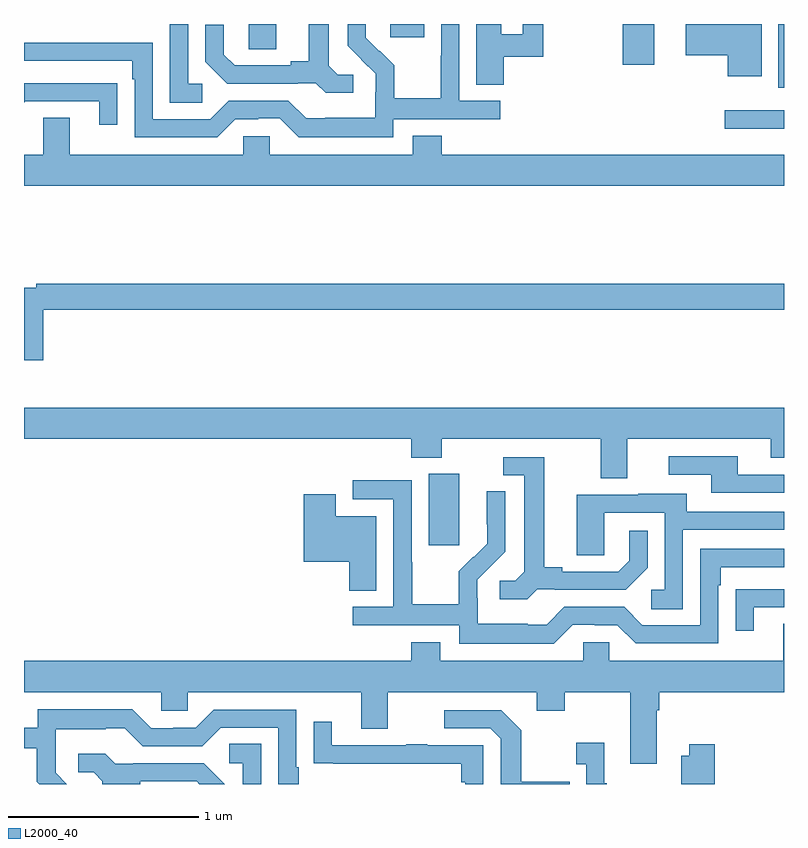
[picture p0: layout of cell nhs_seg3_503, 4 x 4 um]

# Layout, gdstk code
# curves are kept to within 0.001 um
import gdstk
lib = gdstk.Library(unit=1e-6, precision=1e-09)
def R(c, l, rs):  # rectangles x0, y0, x1, y1
    for r in rs: c.add(gdstk.rectangle(r[:2], r[2:], *l))
def P(c, l, *ps):  # polygons
    for p in ps: c.add(gdstk.Polygon(p, *l))
L2000_40 = (2000, 40)

nhs_seg3_503 = lib.new_cell('nhs_seg3_503')
R(nhs_seg3_503, L2000_40, [(137.129,733.656,137.29,734.032), (138.687,735.848,139,735.945), (138.971,736.065,139,736.4), (138.151,736.185,138.316,736.4), (136.182,736.267,136.327,736.4), (136.928,736.329,137.107,736.4)])
P(nhs_seg3_503, L2000_40, [(135.937,736.086),(135.864,736.086),(135.864,736.4),(135.768,736.4),(135.768,735.985),(135.937,735.985)],
  [(136.944,735.9),(137.506,735.9),(137.506,735.996),(137.292,735.996),(137.292,736.4),(137.196,736.4),(137.196,736.232),(137.194,736.232),(137.194,736.009),(136.949,736.009),(136.949,736.183),(136.872,736.26),(136.869,736.257),(136.799,736.328),(136.799,736.4),(136.704,736.4),(136.704,736.286),(136.85,736.138),(136.85,736.041),(136.848,736.041),(136.848,735.907),(136.585,735.907),(136.585,735.903),(136.485,735.903),(136.392,735.996),(136.077,735.996),(135.981,735.9),(135.678,735.9),(135.678,736.302),(135,736.302),(135,736.206),(135.569,736.206),(135.569,736.109),(135.582,736.109),(135.582,735.804),(136.017,735.804),(136.113,735.9),(136.232,735.9),(136.232,735.903),(136.347,735.903),(136.447,735.803),(136.944,735.803)],
  [(138.883,736.4),(138.482,736.4),(138.482,736.235),(138.704,736.235),(138.704,736.124),(138.883,736.124)],
  [(137.525,736.228),(137.734,736.228),(137.734,736.4),(137.625,736.4),(137.625,736.346),(137.512,736.346),(137.512,736.4),(137.381,736.4),(137.381,736.081),(137.525,736.081)],
  [(136.732,736.134),(136.65,736.134),(136.603,736.181),(136.603,736.4),(136.499,736.4),(136.499,736.205),(136.403,736.205),(136.403,736.182),(136.108,736.182),(136.051,736.239),(136.051,736.396),(135.954,736.396),(135.954,736.202),(136.07,736.086),(136.442,736.086),(136.442,736.089),(136.536,736.089),(136.588,736.037),(136.732,736.037)],
  [(135.491,736.088),(135.389,736.088),(135.389,736.089),(135,736.089),(135,735.988),(135.005,735.988),(135.005,735.993),(135.395,735.993),(135.395,735.87),(135.491,735.87)],
  [(139,735.712),(137.198,735.712),(137.198,735.811),(137.045,735.811),(137.045,735.712),(136.293,735.712),(136.293,735.81),(136.155,735.81),(136.155,735.712),(135.241,735.712),(135.241,735.907),(135.101,735.907),(135.101,735.712),(135,735.712),(135,735.548),(139,735.548)],
  [(135.101,734.896),(139,734.896),(139,735.032),(135.064,735.032),(135.064,735.012),(135,735.012),(135,734.631),(135.101,734.631)],
  [(138.175,734.216),(138.929,734.216),(138.929,734.117),(139,734.117),(139,734.38),(135,734.38),(135,734.216),(137.039,734.216),(137.039,734.117),(137.199,734.117),(137.199,734.216),(138.035,734.216),(138.035,734.008),(138.175,734.008)],
  [(139,734.028),(138.757,734.028),(138.757,734.124),(138.393,734.124),(138.393,734.028),(138.617,734.028),(138.617,733.932),(139,733.932)],
  [(137.7,733.425),(137.794,733.425),(137.794,733.422),(138.166,733.422),(138.282,733.538),(138.282,733.732),(138.185,733.732),(138.185,733.575),(138.128,733.518),(137.833,733.518),(137.833,733.541),(137.737,733.541),(137.737,734.121),(137.523,734.121),(137.523,734.025),(137.633,734.025),(137.633,733.517),(137.586,733.47),(137.505,733.47),(137.505,733.373),(137.648,733.373)],
  [(137.889,733.239),(138.005,733.239),(138.005,733.236),(138.123,733.236),(138.219,733.14),(138.654,733.14),(138.654,733.445),(138.667,733.445),(138.667,733.542),(139,733.542),(139,733.638),(138.558,733.638),(138.558,733.236),(138.255,733.236),(138.159,733.332),(137.844,733.332),(137.751,733.239),(137.651,733.239),(137.651,733.243),(137.388,733.243),(137.388,733.377),(137.386,733.377),(137.386,733.474),(137.532,733.622),(137.532,733.94),(137.435,733.94),(137.435,733.768),(137.438,733.768),(137.438,733.664),(137.367,733.593),(137.364,733.596),(137.287,733.519),(137.287,733.345),(137.043,733.345),(137.043,733.568),(137.04,733.568),(137.04,733.998),(136.731,733.998),(136.731,733.899),(136.944,733.899),(136.944,733.332),(136.731,733.332),(136.731,733.236),(137.292,733.236),(137.292,733.139),(137.789,733.139)],
  [(138.468,733.737),(139,733.737),(139,733.833),(138.487,733.833),(138.487,733.927),(138.233,733.927),(138.233,733.923),(137.909,733.923),(137.909,733.603),(138.054,733.603),(138.054,733.827),(138.372,733.827),(138.372,733.422),(138.3,733.422),(138.3,733.321),(138.468,733.321)],
  [(136.855,733.81),(136.642,733.81),(136.642,733.924),(136.472,733.924),(136.472,733.571),(136.712,733.571),(136.712,733.417),(136.855,733.417)],
  [(138.841,733.329),(139,733.329),(139,733.425),(138.847,733.425),(138.847,733.424),(138.745,733.424),(138.745,733.206),(138.841,733.206)],
  [(138.331,732.788),(138.344,732.788),(138.344,732.884),(139,732.884),(139,733.243),(138.995,733.243),(138.995,733.048),(138.081,733.048),(138.081,733.146),(137.943,733.146),(137.943,733.048),(137.191,733.048),(137.191,733.147),(137.039,733.147),(137.039,733.048),(135,733.048),(135,732.884),(135.723,732.884),(135.723,732.786),(135.861,732.786),(135.861,732.884),(136.775,732.884),(136.775,732.69),(136.915,732.69),(136.915,732.884),(137.699,732.884),(137.699,732.785),(137.847,732.785),(137.847,732.884),(138.191,732.884),(138.191,732.507),(138.331,732.507)],
  [(135.166,732.458),(135.166,732.555),(135.168,732.555),(135.168,732.689),(135.431,732.689),(135.431,732.693),(135.531,732.693),(135.624,732.6),(135.939,732.6),(136.035,732.696),(136.338,732.696),(136.338,732.4),(136.447,732.4),(136.447,732.487),(136.434,732.487),(136.434,732.792),(135.999,732.792),(135.903,732.696),(135.785,732.696),(135.785,732.693),(135.669,732.693),(135.569,732.793),(135.072,732.793),(135.072,732.696),(135,732.696),(135,732.588),(135.067,732.588),(135.067,732.413),(135.08,732.4),(135.224,732.4)],
  [(137.873,732.411),(137.617,732.411),(137.617,732.683),(137.511,732.789),(137.211,732.789),(137.211,732.693),(137.454,732.693),(137.508,732.639),(137.508,732.4),(137.873,732.4)],
  [(137.418,732.603),(137.123,732.603),(137.123,732.608),(137.011,732.608),(137.011,732.603),(136.621,732.603),(136.621,732.727),(136.525,732.727),(136.525,732.508),(136.627,732.508),(136.627,732.507),(137.302,732.507),(137.302,732.41),(137.322,732.41),(137.322,732.4),(137.418,732.4)],
  [(138.067,732.403),(138.055,732.403),(138.055,732.616),(137.907,732.616),(137.907,732.503),(137.958,732.503),(137.958,732.4),(138.067,732.4)],
  [(136.248,732.611),(136.08,732.611),(136.08,732.51),(136.152,732.51),(136.152,732.4),(136.248,732.4)],
  [(138.635,732.61),(138.5,732.61),(138.5,732.55),(138.46,732.55),(138.46,732.4),(138.635,732.4)],
  [(135.613,732.414),(135.908,732.414),(135.922,732.4),(136.056,732.4),(135.946,732.51),(135.574,732.51),(135.574,732.507),(135.48,732.507),(135.428,732.559),(135.285,732.559),(135.285,732.462),(135.366,732.462),(135.413,732.415),(135.413,732.4),(135.613,732.4)])

lib.write_gds('nhs_seg3_503.gds')
